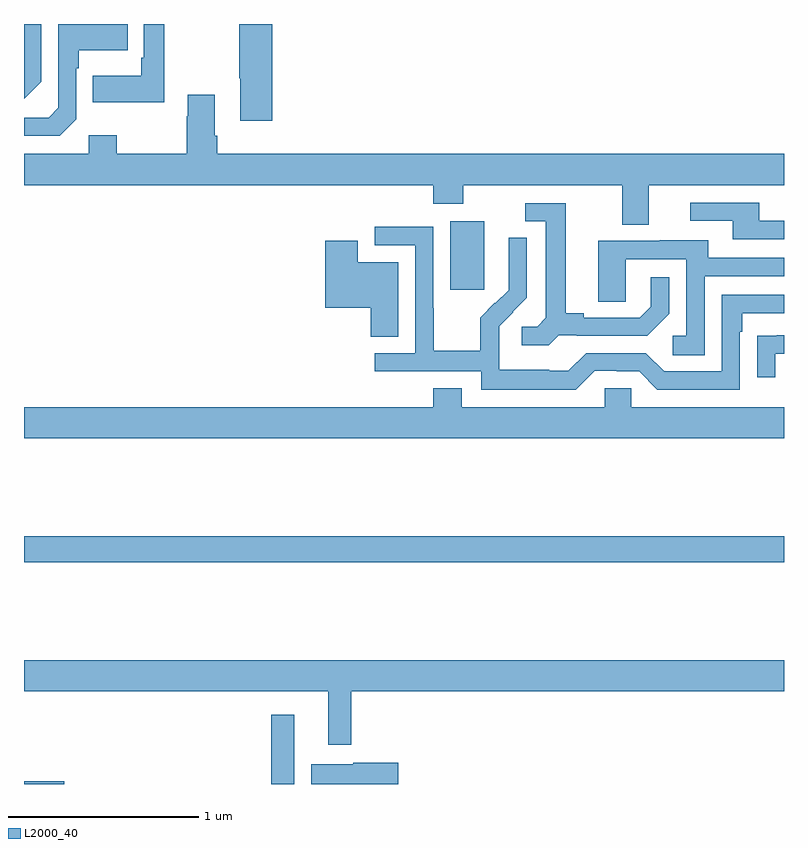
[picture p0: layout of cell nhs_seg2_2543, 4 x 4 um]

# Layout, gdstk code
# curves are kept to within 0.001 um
import gdstk
lib = gdstk.Library(unit=1e-6, precision=1e-09)
def R(c, l, rs):  # rectangles x0, y0, x1, y1
    for r in rs: c.add(gdstk.rectangle(r[:2], r[2:], *l))
def P(c, l, *ps):  # polygons
    for p in ps: c.add(gdstk.Polygon(p, *l))
L2000_40 = (2000, 40)

nhs_seg2_2543 = lib.new_cell('nhs_seg2_2543')
R(nhs_seg2_2543, L2000_40, [(243,661.8,243.211,661.815), (244.302,661.8,244.423,662.164), (243,662.968,247,663.104), (245.243,664.401,245.422,664.762)])
P(nhs_seg2_2543, L2000_40, [(243.09,665.496),(243.09,665.8),(243,665.8),(243,665.406)],
  [(243.276,665.298),(243.276,665.567),(243.289,665.567),(243.289,665.663),(243.545,665.663),(243.545,665.8),(243.18,665.8),(243.18,665.358),(243.129,665.307),(243,665.307),(243,665.211),(243.189,665.211)],
  [(244.307,665.8),(244.132,665.8),(244.132,665.515),(244.139,665.515),(244.139,665.292),(244.307,665.292)],
  [(243.739,665.8),(243.63,665.8),(243.63,665.623),(243.618,665.623),(243.618,665.527),(243.361,665.527),(243.361,665.387),(243.739,665.387)],
  [(246.289,664.952),(247,664.952),(247,665.116),(244.016,665.116),(244.016,665.212),(244.003,665.212),(244.003,665.428),(243.863,665.428),(243.863,665.315),(243.856,665.315),(243.856,665.116),(243.489,665.116),(243.489,665.215),(243.342,665.215),(243.342,665.116),(243,665.116),(243,664.952),(245.153,664.952),(245.153,664.853),(245.313,664.853),(245.313,664.952),(246.149,664.952),(246.149,664.744),(246.289,664.744)],
  [(247,664.764),(246.871,664.764),(246.871,664.86),(246.507,664.86),(246.507,664.764),(246.731,664.764),(246.731,664.668),(247,664.668)],
  [(245.814,664.161),(245.908,664.161),(245.908,664.158),(246.28,664.158),(246.396,664.274),(246.396,664.468),(246.299,664.468),(246.299,664.311),(246.242,664.254),(245.947,664.254),(245.947,664.277),(245.851,664.277),(245.851,664.857),(245.637,664.857),(245.637,664.761),(245.747,664.761),(245.747,664.253),(245.7,664.206),(245.619,664.206),(245.619,664.109),(245.762,664.109)],
  [(246.003,663.975),(246.119,663.975),(246.119,663.972),(246.237,663.972),(246.333,663.876),(246.768,663.876),(246.768,664.181),(246.781,664.181),(246.781,664.278),(247,664.278),(247,664.374),(246.672,664.374),(246.672,663.972),(246.369,663.972),(246.273,664.068),(245.958,664.068),(245.865,663.975),(245.765,663.975),(245.765,663.979),(245.502,663.979),(245.502,664.113),(245.5,664.113),(245.5,664.21),(245.646,664.358),(245.646,664.676),(245.55,664.676),(245.55,664.522),(245.552,664.522),(245.552,664.4),(245.481,664.329),(245.478,664.332),(245.401,664.255),(245.401,664.081),(245.157,664.081),(245.157,664.304),(245.154,664.304),(245.154,664.734),(244.845,664.734),(244.845,664.635),(245.058,664.635),(245.058,664.068),(244.845,664.068),(244.845,663.972),(245.406,663.972),(245.406,663.875),(245.903,663.875)],
  [(246.582,664.473),(247,664.473),(247,664.569),(246.601,664.569),(246.601,664.663),(246.347,664.663),(246.347,664.659),(246.023,664.659),(246.023,664.339),(246.168,664.339),(246.168,664.563),(246.486,664.563),(246.486,664.158),(246.414,664.158),(246.414,664.057),(246.582,664.057)],
  [(244.969,664.546),(244.756,664.546),(244.756,664.66),(244.586,664.66),(244.586,664.307),(244.826,664.307),(244.826,664.153),(244.969,664.153)],
  [(246.955,664.065),(247,664.065),(247,664.161),(246.961,664.161),(246.961,664.16),(246.859,664.16),(246.859,663.942),(246.955,663.942)],
  [(247,663.784),(246.195,663.784),(246.195,663.882),(246.057,663.882),(246.057,663.784),(245.305,663.784),(245.305,663.883),(245.153,663.883),(245.153,663.784),(243,663.784),(243,663.62),(247,663.62)],
  [(244.723,662.288),(247,662.288),(247,662.452),(243,662.452),(243,662.288),(244.601,662.288),(244.601,662.007),(244.723,662.007)],
  [(244.969,661.911),(244.734,661.911),(244.734,661.903),(244.511,661.903),(244.511,661.8),(244.969,661.8)])

lib.write_gds('nhs_seg2_2543.gds')
